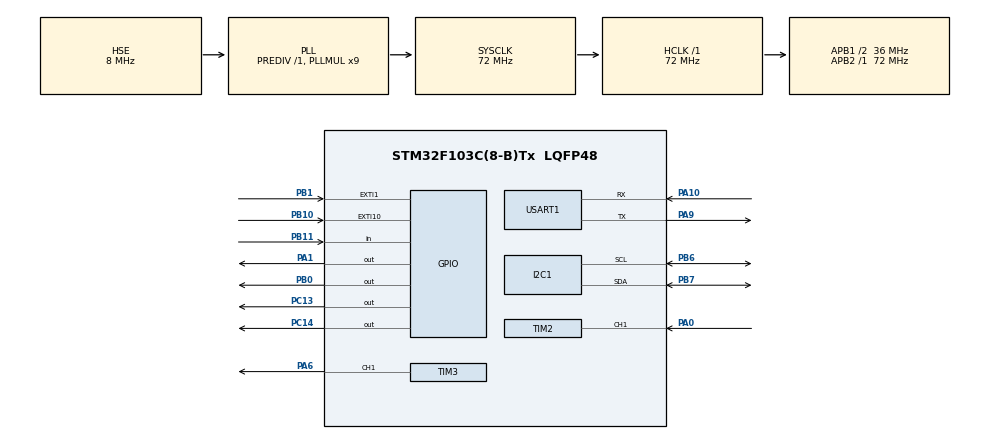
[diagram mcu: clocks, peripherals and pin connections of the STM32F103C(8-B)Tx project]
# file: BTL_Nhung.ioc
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FREERTOS.Tasks01=defaultTask,0,128,StartDefaultTask,Default,NULL,Dynamic,NULL,NULL
FREERTOS.configTOTAL_HEAP_SIZE=8192
Mcu.Family=STM32F1
Mcu.Name=STM32F103C(8-B)Tx
Mcu.Package=LQFP48
NVIC.EXTI15_10_IRQn=true\:7\:0\:true\:false\:true\:true\:true\:true\:true
NVIC.EXTI1_IRQn=true\:7\:0\:true\:false\:true\:true\:true\:true\:true
NVIC.PriorityGroup=NVIC_PRIORITYGROUP_4
NVIC.TIM1_UP_IRQn=true\:15\:0\:false\:false\:true\:false\:false\:true\:true
NVIC.TIM2_IRQn=true\:5\:0\:true\:false\:true\:true\:true\:true\:true
NVIC.TimeBase=TIM1_UP_IRQn
NVIC.TimeBaseIP=TIM1
NVIC.USART1_IRQn=true\:6\:0\:true\:false\:true\:true\:true\:true\:true
PA0-WKUP.Signal=S_TIM2_CH1_ETR
PA1.Signal=GPIO_Output
PA10.Mode=Asynchronous
PA10.Signal=USART1_RX
PA13.Mode=Serial_Wire
PA13.Signal=SYS_JTMS-SWDIO
PA14.Mode=Serial_Wire
PA14.Signal=SYS_JTCK-SWCLK
PA6.Signal=S_TIM3_CH1
PA9.Mode=Asynchronous
PA9.Signal=USART1_TX
PB0.GPIO_ModeDefaultOutputPP=GPIO_MODE_OUTPUT_OD
PB0.GPIO_PuPd=GPIO_NOPULL
PB0.Signal=GPIO_Output
PB1.GPIO_PuPd=GPIO_PULLUP
PB1.Signal=GPXTI1
PB10.GPIO_PuPd=GPIO_PULLUP
PB10.Signal=GPXTI10
PB11.GPIO_PuPd=GPIO_PULLUP
PB11.Signal=GPIO_Input
PB6.Mode=I2C
PB6.Signal=I2C1_SCL
PB7.Mode=I2C
PB7.Signal=I2C1_SDA
PC13-TAMPER-RTC.Signal=GPIO_Output
PC14-OSC32_IN.Signal=GPIO_Output
PD0-OSC_IN.Mode=HSE-External-Oscillator
PD0-OSC_IN.Signal=RCC_OSC_IN
PD1-OSC_OUT.Mode=HSE-External-Oscillator
PD1-OSC_OUT.Signal=RCC_OSC_OUT
ProjectManager.HeapSize=0x200
ProjectManager.StackSize=0x400
ProjectManager.TargetToolchain=CMake
RCC.AHBFreq_Value=72000000
RCC.APB1CLKDivider=RCC_HCLK_DIV2
RCC.APB1Freq_Value=36000000
RCC.APB1TimFreq_Value=72000000
RCC.APB2Freq_Value=72000000
RCC.APB2TimFreq_Value=72000000
RCC.HCLKFreq_Value=72000000
RCC.PLLMUL=RCC_PLL_MUL9
RCC.PLLSourceVirtual=RCC_PLLSOURCE_HSE
RCC.SYSCLKFreq_VALUE=72000000
RCC.SYSCLKSource=RCC_SYSCLKSOURCE_PLLCLK
RCC.USBFreq_Value=72000000
SH.S_TIM2_CH1_ETR.0=TIM2_CH1,Input_Capture1_from_TI1
SH.S_TIM3_CH1.0=TIM3_CH1,PWM Generation1 CH1
TIM2.Channel-Input_Capture1_from_TI1=TIM_CHANNEL_1
TIM2.Prescaler=71
TIM3.Channel-PWM\ Generation1\ CH1=TIM_CHANNEL_1
TIM3.Period=499
TIM3.Prescaler=71
TIM3.Pulse-PWM\ Generation1\ CH1=250
TIM4.Prescaler=71
USART1.VirtualMode=VM_ASYNC
VP_FREERTOS_VS_CMSIS_V1.Mode=CMSIS_V1
VP_SYS_VS_tim1.Mode=TIM1
VP_TIM4_VS_ClockSourceINT.Mode=Internal
board=custom

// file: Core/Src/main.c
/* USER CODE BEGIN Header */
/**
  ******************************************************************************
  * @file           : main.c
  * @brief          : Main program body
  ******************************************************************************
  * @attention
  *
  * Copyright (c) 2026 STMicroelectronics.
  * All rights reserved.
  *
  * This software is licensed under terms that can be found in the LICENSE file
  * in the root directory of this software component.
  * If no LICENSE file comes with this software, it is provided AS-IS.
  *
  ******************************************************************************
  */
/* USER CODE END Header */
#include "main.h"
#include "cmsis_os.h"
#include "i2c.h"
#include "tim.h"
#include "usart.h"
#include "gpio.h"

void SystemClock_Config(void);
void MX_FREERTOS_Init(void);

int main(void)
{

  /* MCU Configuration--------------------------------------------------------*/

  /* Reset of all peripherals, Initializes the Flash interface and the Systick. */
  HAL_Init();

  /* Configure the system clock */
  SystemClock_Config();

  /* Initialize all configured peripherals */
  MX_GPIO_Init();
  MX_I2C1_Init();
  MX_TIM2_Init();
  MX_TIM3_Init();
  MX_TIM4_Init();
  MX_USART1_UART_Init();

  /* Call init function for freertos objects (in cmsis_os2.c) */
  MX_FREERTOS_Init();

  /* Start scheduler */
  osKernelStart();

  /* We should never get here as control is now taken by the scheduler */

  /* Infinite loop */
  while (1)
  {

  }
}

void SystemClock_Config(void)
{
  RCC_OscInitTypeDef RCC_OscInitStruct = {0};
  RCC_ClkInitTypeDef RCC_ClkInitStruct = {0};

  /** Initializes the RCC Oscillators according to the specified parameters
  * in the RCC_OscInitTypeDef structure.
  */
  RCC_OscInitStruct.OscillatorType = RCC_OSCILLATORTYPE_HSE;
  RCC_OscInitStruct.HSEState = RCC_HSE_ON;
  RCC_OscInitStruct.HSEPredivValue = RCC_HSE_PREDIV_DIV1;
  RCC_OscInitStruct.HSIState = RCC_HSI_ON;
  RCC_OscInitStruct.PLL.PLLState = RCC_PLL_ON;
  RCC_OscInitStruct.PLL.PLLSource = RCC_PLLSOURCE_HSE;
  RCC_OscInitStruct.PLL.PLLMUL = RCC_PLL_MUL9;
  if (HAL_RCC_OscConfig(&RCC_OscInitStruct) != HAL_OK)
  {
    Error_Handler();
  }

  /** Initializes the CPU, AHB and APB buses clocks
  */
  RCC_ClkInitStruct.ClockType = RCC_CLOCKTYPE_HCLK|RCC_CLOCKTYPE_SYSCLK
                              |RCC_CLOCKTYPE_PCLK1|RCC_CLOCKTYPE_PCLK2;
  RCC_ClkInitStruct.SYSCLKSource = RCC_SYSCLKSOURCE_PLLCLK;
  RCC_ClkInitStruct.AHBCLKDivider = RCC_SYSCLK_DIV1;
  RCC_ClkInitStruct.APB1CLKDivider = RCC_HCLK_DIV2;
  RCC_ClkInitStruct.APB2CLKDivider = RCC_HCLK_DIV1;

  if (HAL_RCC_ClockConfig(&RCC_ClkInitStruct, FLASH_LATENCY_2) != HAL_OK)
  {
    Error_Handler();
  }
}

void HAL_TIM_PeriodElapsedCallback(TIM_HandleTypeDef *htim)
{
  if (htim->Instance == TIM1)
  {
    HAL_IncTick();
  }
}

void Error_Handler(void)
{
  __disable_irq();
  while (1)
  {
  }
}

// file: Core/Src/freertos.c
/* USER CODE BEGIN Header */
/**
  ******************************************************************************
  * File Name          : freertos.c
  * Description        : Code for freertos applications
  ******************************************************************************
  * @attention
  *
  * Copyright (c) 2026 STMicroelectronics.
  * All rights reserved.
  *
  * This software is licensed under terms that can be found in the LICENSE file
  * in the root directory of this software component.
  * If no LICENSE file comes with this software, it is provided AS-IS.
  *
  ******************************************************************************
  */
/* USER CODE END Header */

#include "FreeRTOS.h"
#include "task.h"
#include "main.h"
#include "cmsis_os.h"

/* USER CODE BEGIN Includes */
#include "app_ipc.h"
#include "hal_buzzer.h"
#include "hal_i2c_stm32.h"
#include "display_outputs.h"
#include "bsp_led_adapter.h"
#include "task_sensor.h"
#include "task_display.h"
#include "task_comm.h"
#include "task_encoder.h"
#include "task_control.h"
/* USER CODE END Includes */

osThreadId defaultTaskHandle;

void StartDefaultTask(void const * argument);

void MX_FREERTOS_Init(void); /* (MISRA C 2004 rule 8.1) */

/* GetIdleTaskMemory prototype (linked to static allocation support) */
void vApplicationGetIdleTaskMemory( StaticTask_t **ppxIdleTaskTCBBuffer, StackType_t **ppxIdleTaskStackBuffer, uint32_t *pulIdleTaskStackSize );

/* USER CODE BEGIN GET_IDLE_TASK_MEMORY */
static StaticTask_t xIdleTaskTCBBuffer;
static StackType_t xIdleStack[configMINIMAL_STACK_SIZE];

void vApplicationGetIdleTaskMemory( StaticTask_t **ppxIdleTaskTCBBuffer, StackType_t **ppxIdleTaskStackBuffer, uint32_t *pulIdleTaskStackSize )
{
  *ppxIdleTaskTCBBuffer = &xIdleTaskTCBBuffer;
  *ppxIdleTaskStackBuffer = &xIdleStack[0];
  *pulIdleTaskStackSize = configMINIMAL_STACK_SIZE;
  /* place for user code */
}
/* USER CODE END GET_IDLE_TASK_MEMORY */

void MX_FREERTOS_Init(void) {
  /* USER CODE BEGIN Init */
  /* KY-040: PA2 CLK, PA3 DT, PA4 SW */
  GPIO_InitTypeDef EncoderGPIO = {0};
  __HAL_RCC_GPIOA_CLK_ENABLE();
  EncoderGPIO.Pin = GPIO_PIN_2 | GPIO_PIN_3 | GPIO_PIN_4;
  EncoderGPIO.Mode = GPIO_MODE_INPUT;
  EncoderGPIO.Pull = GPIO_PULLUP;
  HAL_GPIO_Init(GPIOA, &EncoderGPIO);
  /* USER CODE END Init */

  /* Create the thread(s) */
  /* definition and creation of defaultTask */
  osThreadDef(defaultTask, StartDefaultTask, osPriorityNormal, 0, 128);
  defaultTaskHandle = osThreadCreate(osThread(defaultTask), NULL);

  /* USER CODE BEGIN RTOS_THREADS */
  /* 1. Khoi tao Mutex va Queue dung chung (bat buoc goi truoc khi tao Task) */
  if (app_ipc_init() != pdPASS)
  {
    Error_Handler();
  }

  /* 2. Khoi tao I2C1 cho OLED va PWM Buzzer */
  hal_i2c_stm32_init();
  Buzzer_Init();
  display_outputs_bind_buzzer(Buzzer_Write);
  display_outputs_bind_led(bsp_led_write);

  /* 3. Khoi tao 5 Task chinh cua he thong */
  task_sensor_create();
  task_display_create();
  Comm_TaskCreate();
  if (task_encoder_create() != pdPASS) {
    Error_Handler();
  }
  if (task_control_create() != pdPASS) {
    Error_Handler();
  }
  /* USER CODE END RTOS_THREADS */

}

void StartDefaultTask(void const * argument)
{
  for(;;)
  {
    osDelay(1);
  }
}
